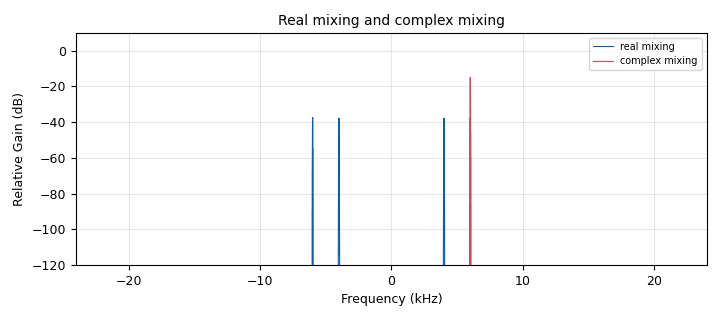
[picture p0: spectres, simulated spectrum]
options:
  parameters:
    generate_options: qt_gui
    id: fg_tp10_002
    output_language: python
    title: FG-TP10-002
  states: {}

blocks:
- name: f_mix
  id: variable
  parameters:
    value: '5000'
  states: {}
- name: f_signal
  id: variable
  parameters:
    value: '1000'
  states: {}
- name: samp_rate
  id: variable
  parameters:
    value: '48000'
  states: {}
- name: complex_mix
  id: blocks_multiply_xx
  parameters:
    type: complex
  states: {}
- name: cosinus
  id: analog_sig_source_x
  parameters:
    amp: '0.3'
    freq: f_mix
    offset: '0'
    phase: '0'
    samp_rate: samp_rate
    type: float
    waveform: analog.GR_COS_WAVE
  states: {}
- name: debit
  id: blocks_throttle2
  parameters:
    samples_per_second: samp_rate
    type: complex
  states: {}
- name: partie_reelle
  id: blocks_complex_to_real
  parameters: {}
  states: {}
- name: phaseur
  id: analog_sig_source_x
  parameters:
    amp: '1'
    freq: f_mix
    offset: '0'
    phase: '0'
    samp_rate: samp_rate
    type: complex
    waveform: analog.GR_COS_WAVE
  states: {}
- name: real_mix
  id: blocks_multiply_xx
  parameters:
    type: float
  states: {}
- name: signal_c
  id: analog_sig_source_x
  parameters:
    amp: '0.5'
    freq: f_signal
    offset: '0'
    phase: '0'
    samp_rate: samp_rate
    type: complex
    waveform: analog.GR_COS_WAVE
  states: {}
- name: spectres
  id: qtgui_freq_sink_x
  parameters:
    average: '0.1'
    bw: samp_rate
    fc: '0'
    fftsize: '4096'
    grid: 'True'
    gui_hint: 0,0,1,1
    label1: '"real mixing"'
    label2: '"complex mixing"'
    name: '"Real mixing and complex mixing"'
    nconnections: '2'
    type: complex
    ymin: '-120'
  states: {}
- name: vers_complexe
  id: blocks_float_to_complex
  parameters: {}
  states: {}

connections:
- [complex_mix, '0', spectres, '1']
- [cosinus, '0', real_mix, '1']
- [debit, '0', complex_mix, '0']
- [debit, '0', partie_reelle, '0']
- [partie_reelle, '0', real_mix, '0']
- [phaseur, '0', complex_mix, '1']
- [real_mix, '0', vers_complexe, '0']
- [signal_c, '0', debit, '0']
- [vers_complexe, '0', spectres, '0']

metadata:
  file_format: 1
  grc_version: 3.10.12.0
